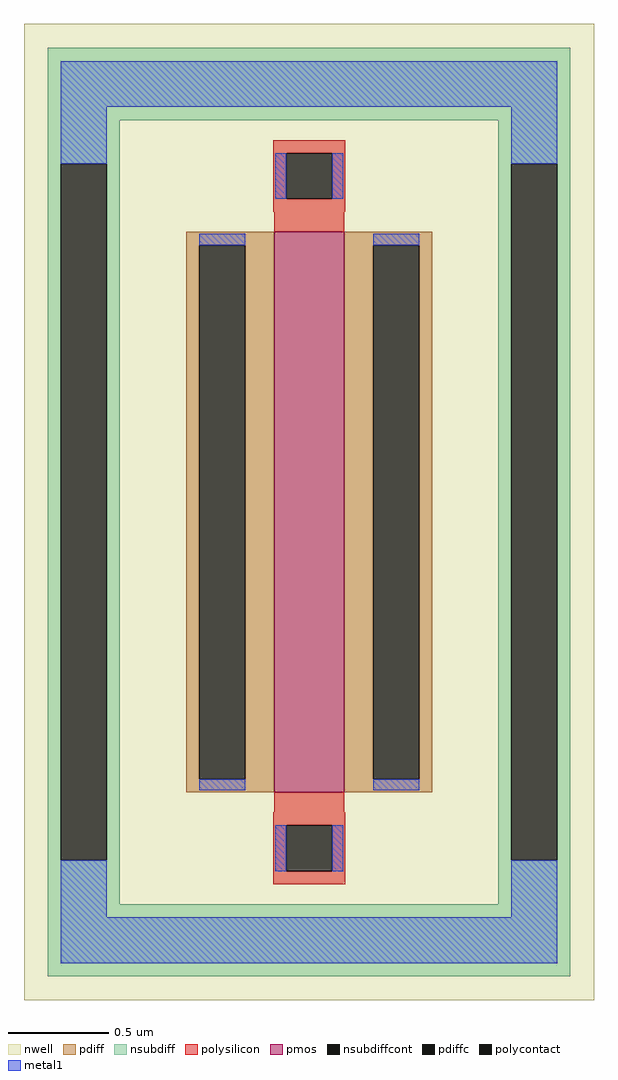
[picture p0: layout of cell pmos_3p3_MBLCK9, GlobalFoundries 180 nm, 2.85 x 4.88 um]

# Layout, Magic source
magic
tech gf180mcuC
magscale 1 10
<< nwell >>
rect -285 -488 285 488
<< pmos >>
rect -35 -280 35 280
<< pdiff >>
rect -123 267 -35 280
rect -123 -267 -110 267
rect -64 -267 -35 267
rect -123 -280 -35 -267
rect 35 267 123 280
rect 35 -267 64 267
rect 110 -267 123 267
rect 35 -280 123 -267
<< pdiffc >>
rect -110 -267 -64 267
rect 64 -267 110 267
<< nsubdiff >>
rect -261 392 261 464
rect -261 348 -189 392
rect -261 -348 -248 348
rect -202 -348 -189 348
rect 189 348 261 392
rect -261 -392 -189 -348
rect 189 -348 202 348
rect 248 -348 261 348
rect 189 -392 261 -348
rect -261 -464 261 -392
<< nsubdiffcont >>
rect -248 -348 -202 348
rect 202 -348 248 348
<< polysilicon >>
rect -36 359 36 372
rect -36 313 -23 359
rect 23 313 36 359
rect -36 300 36 313
rect -35 280 35 300
rect -35 -300 35 -280
rect -36 -313 36 -300
rect -36 -359 -23 -313
rect 23 -359 36 -313
rect -36 -372 36 -359
<< polycontact >>
rect -23 313 23 359
rect -23 -359 23 -313
<< metal1 >>
rect -248 405 248 451
rect -248 348 -202 405
rect -34 313 -23 359
rect 23 313 34 359
rect 202 348 248 405
rect -110 267 -64 278
rect -110 -278 -64 -267
rect 64 267 110 278
rect 64 -278 110 -267
rect -248 -405 -202 -348
rect -34 -359 -23 -313
rect 23 -359 34 -313
rect 202 -405 248 -348
rect -248 -451 248 -405
<< properties >>
string FIXED_BBOX -225 -428 225 428
string gencell pmos_3p3
string library gf180mcu
string parameters w 2.8 l 0.35 m 1 nf 1 diffcov 100 polycov 100 guard 1 glc 1 grc 1 gtc 0 gbc 0 tbcov 100 rlcov 100 topc 1 botc 1 poverlap 0 doverlap 1 lmin 0.28 wmin 0.22 full_metal 1 compatible {pmos_3p3 pmos_6p0}
<< end >>
